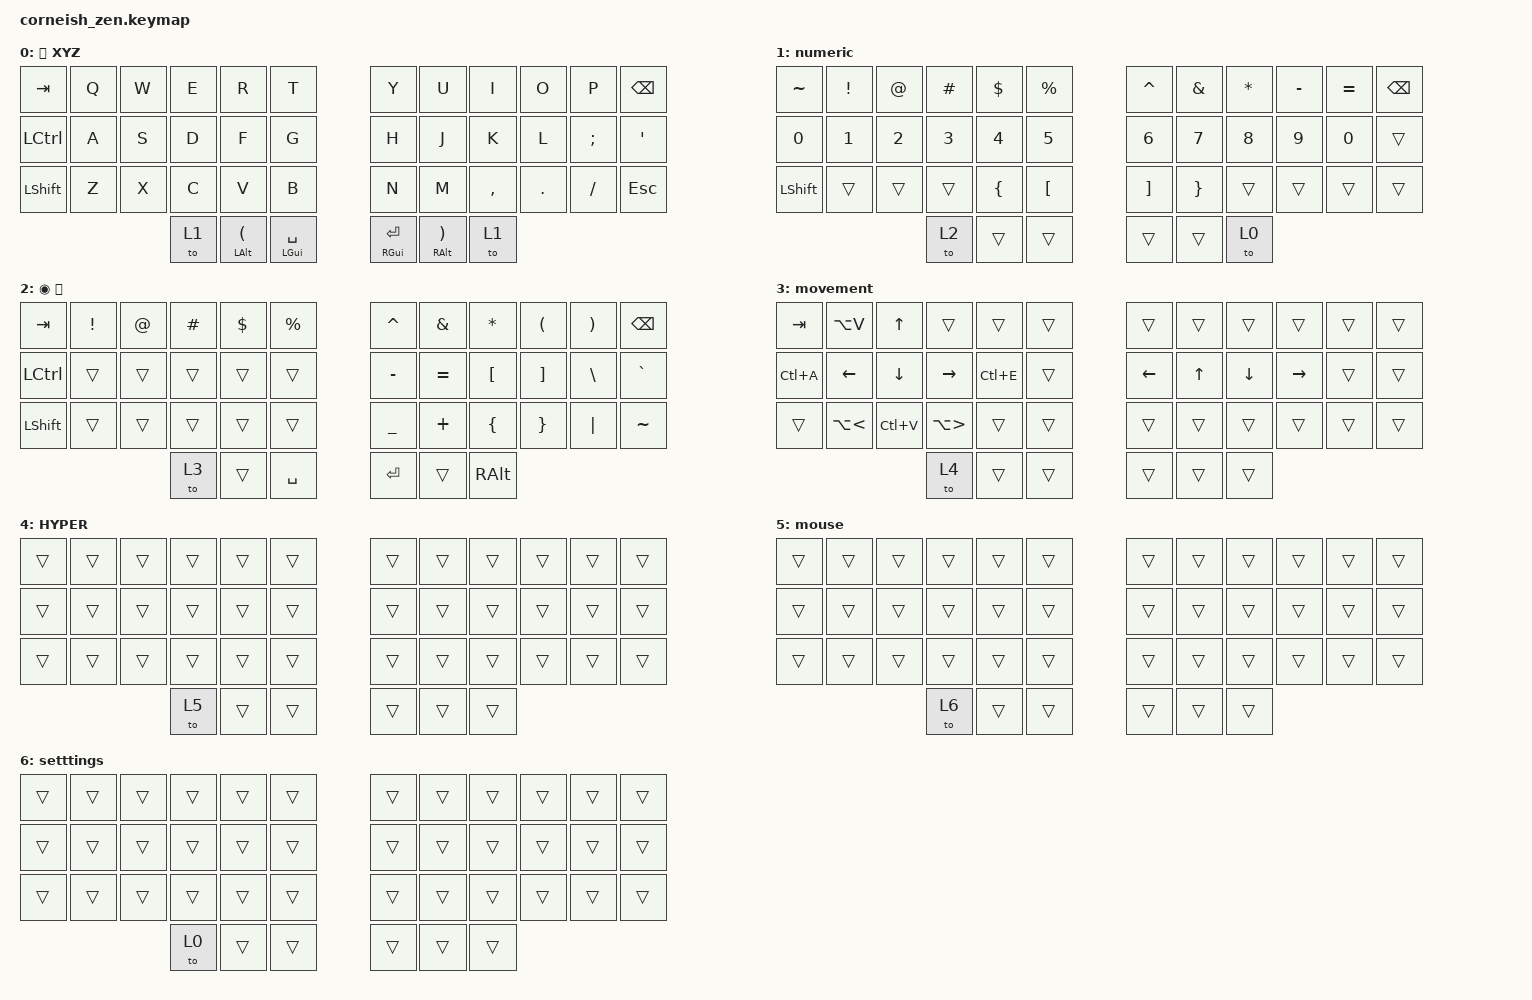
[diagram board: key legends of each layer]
#include <behaviors.dtsi>
#include <dt-bindings/zmk/keys.h>

/ {
    chosen {
        zmk,matrix_transform = &default_transform;

        //zmk,matrix_transform = &five_column_transform;
    };
};

/ {
    keymap {
        compatible = "zmk,keymap";

        alphabetic {
            label = "𝓐 XYZ";

            // -----------------------------------------------------------------------------------------
            // |  TAB |  Q  |  W  |  E  |  R  |  T  |   |  Y  |  U   |  I  |  O  |  P  | BKSP |
            // | CTRL |  A  |  S  |  D  |  F  |  G  |   |  H  |  J   |  K  |  L  |  ;  |  '   |
            // | SHFT |  Z  |  X  |  C  |  V  |  B  |   |  N  |  M   |  ,  |  .  |  /  | ESC  |
            //                    | GUI | LWR | SPC |   | ENT | RSE  | ALT |

            bindings = <
&kp TAB    &kp Q  &kp W  &kp E  &kp R                      &kp T                 &kp Y         &kp U                       &kp I      &kp O    &kp P     &kp BSPC
&kp LCTRL  &kp A  &kp S  &kp D  &kp F                      &kp G                 &kp H         &kp J                       &kp K      &kp L    &kp SEMI  &kp SQT
&kp LSHFT  &kp Z  &kp X  &kp C  &kp V                      &kp B                 &kp N         &kp M                       &kp COMMA  &kp DOT  &kp FSLH  &kp ESC
                         &to 1  &mt LALT LEFT_PARENTHESIS  &mt LEFT_GUI SPACE    &mt RGUI RET  &mt RALT RIGHT_PARENTHESIS  &to 1
            >;
        };

        numeric {
            label = "numeric";

            // -----------------------------------------------------------------------------------------
            // |  TAB |  1  |  2  |  3  |  4  |  5  |   |  6  |  7  |  8  |  9  |  0  | BKSP |
            // | BTCLR| BT1 | BT2 | BT3 | BT4 | BT5 |   | LFT | DWN |  UP | RGT |     |      |
            // | SHFT |     |     |     |     |     |   |     |     |     |     |     |      |
            //                    | GUI |     | SPC |   | ENT |     | ALT |

            bindings = <
&kp TILDE  &kp EXCLAMATION  &kp AT_SIGN   &kp HASH      &kp DOLLAR      &kp PERCENT         &kp CARET          &kp AMPERSAND    &kp ASTERISK  &kp MINUS  &kp EQUAL  &kp BSPC
&kp N0     &kp NUMBER_1     &kp NUMBER_2  &kp NUMBER_3  &kp NUMBER_4    &kp N5              &kp NUMBER_6       &kp N7           &kp N8        &kp N9     &kp N0     &trans
&kp LSHFT  &trans           &trans        &trans        &kp LEFT_BRACE  &kp LEFT_BRACKET    &kp RIGHT_BRACKET  &kp RIGHT_BRACE  &trans        &trans     &trans     &trans
                                          &to 2         &trans          &trans              &trans             &trans           &to 0
            >;
        };

        symbolic {
            label = "◉   🧩";

            // -----------------------------------------------------------------------------------------
            // |  TAB |  !  |  @  |  #  |  $  |  %  |   |  ^  |  &  |  *  |  (  |  )  | BKSP |
            // | CTRL |     |     |     |     |     |   |  -  |  =  |  [  |  ]  |  \  |  `   |
            // | SHFT |     |     |     |     |     |   |  _  |  +  |  {  |  }  | "|" |  ~   |
            //                    | GUI |     | SPC |   | ENT |     | ALT |

            bindings = <
&kp TAB    &kp EXCL  &kp AT  &kp HASH  &kp DLLR  &kp PRCNT    &kp CARET  &kp AMPS   &kp STAR  &kp LPAR  &kp RPAR  &kp BSPC
&kp LCTRL  &trans    &trans  &trans    &trans    &trans       &kp MINUS  &kp EQUAL  &kp LBKT  &kp RBKT  &kp BSLH  &kp GRAVE
&kp LSHFT  &trans    &trans  &trans    &trans    &trans       &kp UNDER  &kp PLUS   &kp LBRC  &kp RBRC  &kp PIPE  &kp TILDE
                             &to 3     &trans    &kp SPACE    &kp RET    &trans     &kp RALT
            >;
        };

        movement {
            bindings = <
&kp TAB    &kp LA(V)          &kp UP_ARROW  &trans                &trans     &trans    &trans          &trans        &trans    &trans     &trans  &trans
&kp LC(A)  &kp LEFT_ARROW     &kp DOWN      &kp RIGHT             &kp LC(E)  &trans    &kp LEFT_ARROW  &kp UP_ARROW  &kp DOWN  &kp RIGHT  &trans  &trans
&trans     &kp LA(LESS_THAN)  &kp LC(V)     &kp LA(GREATER_THAN)  &trans     &trans    &trans          &trans        &trans    &trans     &trans  &trans
                                            &to 4                 &trans     &trans    &trans          &trans        &trans
            >;

            label = "movement";
        };

        HYPER {
            bindings = <
&trans  &trans  &trans  &trans  &trans  &trans    &trans  &trans  &trans  &trans  &trans  &trans
&trans  &trans  &trans  &trans  &trans  &trans    &trans  &trans  &trans  &trans  &trans  &trans
&trans  &trans  &trans  &trans  &trans  &trans    &trans  &trans  &trans  &trans  &trans  &trans
                        &to 5   &trans  &trans    &trans  &trans  &trans
            >;
        };

        mouse {
            bindings = <
&trans  &trans  &trans  &trans  &trans  &trans    &trans  &trans  &trans  &trans  &trans  &trans
&trans  &trans  &trans  &trans  &trans  &trans    &trans  &trans  &trans  &trans  &trans  &trans
&trans  &trans  &trans  &trans  &trans  &trans    &trans  &trans  &trans  &trans  &trans  &trans
                        &to 6   &trans  &trans    &trans  &trans  &trans
            >;

            label = "mouse";
        };

        settings {
            bindings = <
&trans  &trans  &trans  &trans  &trans  &trans    &trans  &trans  &trans  &trans  &trans  &trans
&trans  &trans  &trans  &trans  &trans  &trans    &trans  &trans  &trans  &trans  &trans  &trans
&trans  &trans  &trans  &trans  &trans  &trans    &trans  &trans  &trans  &trans  &trans  &trans
                        &to 0   &trans  &trans    &trans  &trans  &trans
            >;

            label = "setttings";
        };
    };
};
